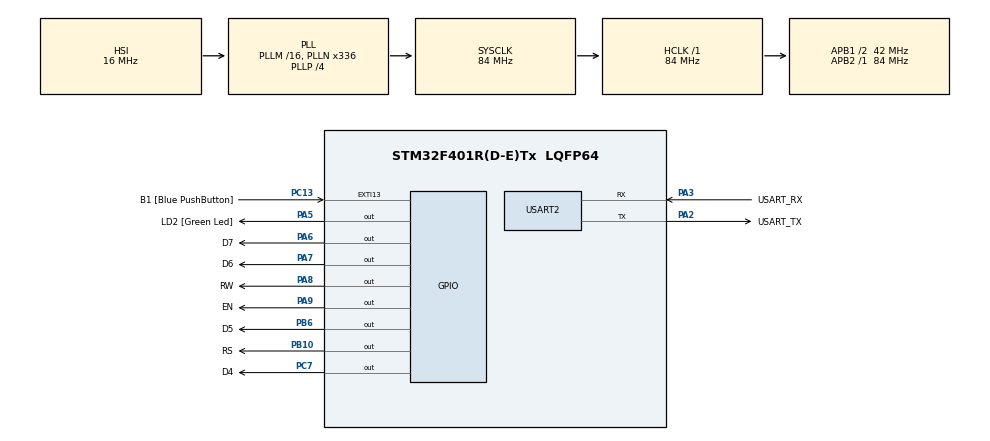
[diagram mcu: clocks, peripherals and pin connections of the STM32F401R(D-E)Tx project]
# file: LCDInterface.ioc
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Mcu.Family=STM32F4
Mcu.Name=STM32F401R(D-E)Tx
Mcu.Package=LQFP64
NVIC.EXTI15_10_IRQn=true\:0\:0\:false\:false\:true\:true\:true\:true
NVIC.PriorityGroup=NVIC_PRIORITYGROUP_0
NVIC.TIM1_UP_TIM10_IRQn=true\:0\:0\:false\:false\:true\:true\:true\:true
PA13.GPIO_Label=TMS
PA13.Mode=Serial_Wire
PA13.Signal=SYS_JTMS-SWDIO
PA14.GPIO_Label=TCK
PA14.Mode=Serial_Wire
PA14.Signal=SYS_JTCK-SWCLK
PA2.GPIO_Label=USART_TX
PA2.GPIO_Mode=GPIO_MODE_AF_PP
PA2.GPIO_PuPd=GPIO_NOPULL
PA2.GPIO_Speed=GPIO_SPEED_FREQ_LOW
PA2.Mode=Asynchronous
PA2.Signal=USART2_TX
PA3.GPIO_Label=USART_RX
PA3.GPIO_Mode=GPIO_MODE_AF_PP
PA3.GPIO_PuPd=GPIO_NOPULL
PA3.GPIO_Speed=GPIO_SPEED_FREQ_LOW
PA3.Mode=Asynchronous
PA3.Signal=USART2_RX
PA5.GPIO_Label=LD2 [Green Led]
PA5.GPIO_Mode=GPIO_MODE_OUTPUT_PP
PA5.GPIO_PuPd=GPIO_NOPULL
PA5.GPIO_Speed=GPIO_SPEED_FREQ_LOW
PA5.Signal=GPIO_Output
PA6.GPIO_Label=D7
PA6.Signal=GPIO_Output
PA7.GPIO_Label=D6
PA7.Signal=GPIO_Output
PA8.GPIO_Label=RW
PA8.Signal=GPIO_Output
PA9.GPIO_Label=EN
PA9.Signal=GPIO_Output
PB10.GPIO_Label=RS
PB10.Signal=GPIO_Output
PB3.GPIO_Label=SWO
PB3.Signal=SYS_JTDO-SWO
PB6.GPIO_Label=D5
PB6.Signal=GPIO_Output
PC13-ANTI_TAMP.GPIO_Label=B1 [Blue PushButton]
PC13-ANTI_TAMP.GPIO_ModeDefaultEXTI=GPIO_MODE_IT_RISING
PC13-ANTI_TAMP.GPIO_PuPd=GPIO_PULLDOWN
PC13-ANTI_TAMP.Signal=GPXTI13
PC14-OSC32_IN.Mode=LSE-External-Oscillator
PC14-OSC32_IN.Signal=RCC_OSC32_IN
PC15-OSC32_OUT.Mode=LSE-External-Oscillator
PC15-OSC32_OUT.Signal=RCC_OSC32_OUT
PC7.GPIO_Label=D4
PC7.Signal=GPIO_Output
PH0\ -\ OSC_IN.Mode=HSE-External-Clock-Source
PH0\ -\ OSC_IN.Signal=RCC_OSC_IN
PH1\ -\ OSC_OUT.Mode=HSE-External-Clock-Source
PH1\ -\ OSC_OUT.Signal=RCC_OSC_OUT
ProjectManager.HeapSize=0x200
ProjectManager.StackSize=0x400
ProjectManager.TargetToolchain=STM32CubeIDE
RCC.48MHZClocksFreq_Value=48000000
RCC.AHBFreq_Value=84000000
RCC.APB1CLKDivider=RCC_HCLK_DIV2
RCC.APB1Freq_Value=42000000
RCC.APB1TimFreq_Value=84000000
RCC.APB2Freq_Value=84000000
RCC.APB2TimFreq_Value=84000000
RCC.CortexFreq_Value=84000000
RCC.HCLKFreq_Value=84000000
RCC.HSE_VALUE=8000000
RCC.HSI_VALUE=16000000
RCC.PLLN=336
RCC.PLLP=RCC_PLLP_DIV4
RCC.PLLQ=7
RCC.SYSCLKFreq_VALUE=84000000
RCC.SYSCLKSource=RCC_SYSCLKSOURCE_PLLCLK
RCC.VCOOutputFreq_Value=336000000
TIM10.AutoReloadPreload=TIM_AUTORELOAD_PRELOAD_ENABLE
TIM10.Period=10000-1
TIM10.Prescaler=8000-1
USART2.VirtualMode=VM_ASYNC
VP_TIM10_VS_ClockSourceINT.Mode=Enable_Timer
board=NUCLEO-F401RE

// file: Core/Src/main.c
/* USER CODE BEGIN Header */
/**
  ******************************************************************************
  * @file           : main.c
  * @brief          : Main program body
  ******************************************************************************
  * @attention
  *
  * Copyright (c) 2024 STMicroelectronics.
  * All rights reserved.
  *
  * This software is licensed under terms that can be found in the LICENSE file
  * in the root directory of this software component.
  * If no LICENSE file comes with this software, it is provided AS-IS.
  *
  ******************************************************************************
  */
/* USER CODE END Header */
#include "main.h"
#include "stdio.h"
#include "lcd.h"

/* USER CODE BEGIN PTD */

unsigned char flag=1;
int seconds=0,minutes=0,hours=0;
/* USER CODE END PTD */

TIM_HandleTypeDef htim10;

UART_HandleTypeDef huart2;

void SystemClock_Config(void);
static void MX_GPIO_Init(void);
static void MX_USART2_UART_Init(void);
static void MX_TIM10_Init(void);

/* USER CODE BEGIN 0 */
void HAL_GPIO_EXTI_Callback(uint16_t GPIO_Pin){
	minutes=seconds=hours=0;
	HAL_TIM_Base_Start_IT(&htim10);
}
/* USER CODE END 0 */

int main(void)
{

  /* USER CODE BEGIN 1 */
	char buffer[9];
  /* USER CODE END 1 */

  /* MCU Configuration--------------------------------------------------------*/

  /* Reset of all peripherals, Initializes the Flash interface and the Systick. */
  HAL_Init();

  /* Configure the system clock */
  SystemClock_Config();

  /* Initialize all configured peripherals */
  MX_GPIO_Init();
  MX_USART2_UART_Init();
  MX_TIM10_Init();
  /* USER CODE BEGIN 2 */
//	HAL_GPIO_WritePin(LD2_GPIO_Port, LD2_Pin, SET);
	LCD_Init();
	LCD_SetCursor(0, 0);
//	LCD_SetCursor(1, 0);
//	LCD_WriteString("Mistake");
	HAL_Delay(10);
	sprintf(buffer, "%.2d:%.2d:%.2d", hours, minutes, seconds);
	LCD_WriteString(buffer);

  //start timer10

  /* USER CODE END 2 */

  /* Infinite loop */
  /* USER CODE BEGIN WHILE */
  while (1)
  {
	  sprintf(buffer, "%.2d:%.2d:%.2d", hours, minutes, seconds);
	  LCD_SetCursor(0, 0);
	  LCD_WriteString(buffer);

  }

}

void SystemClock_Config(void)
{
  RCC_OscInitTypeDef RCC_OscInitStruct = {0};
  RCC_ClkInitTypeDef RCC_ClkInitStruct = {0};

  /** Configure the main internal regulator output voltage
  */
  __HAL_RCC_PWR_CLK_ENABLE();
  __HAL_PWR_VOLTAGESCALING_CONFIG(PWR_REGULATOR_VOLTAGE_SCALE2);

  /** Initializes the RCC Oscillators according to the specified parameters
  * in the RCC_OscInitTypeDef structure.
  */
  RCC_OscInitStruct.OscillatorType = RCC_OSCILLATORTYPE_HSI;
  RCC_OscInitStruct.HSIState = RCC_HSI_ON;
  RCC_OscInitStruct.HSICalibrationValue = RCC_HSICALIBRATION_DEFAULT;
  RCC_OscInitStruct.PLL.PLLState = RCC_PLL_ON;
  RCC_OscInitStruct.PLL.PLLSource = RCC_PLLSOURCE_HSI;
  RCC_OscInitStruct.PLL.PLLM = 16;
  RCC_OscInitStruct.PLL.PLLN = 336;
  RCC_OscInitStruct.PLL.PLLP = RCC_PLLP_DIV4;
  RCC_OscInitStruct.PLL.PLLQ = 7;
  if (HAL_RCC_OscConfig(&RCC_OscInitStruct) != HAL_OK)
  {
    Error_Handler();
  }

  /** Initializes the CPU, AHB and APB buses clocks
  */
  RCC_ClkInitStruct.ClockType = RCC_CLOCKTYPE_HCLK|RCC_CLOCKTYPE_SYSCLK
                              |RCC_CLOCKTYPE_PCLK1|RCC_CLOCKTYPE_PCLK2;
  RCC_ClkInitStruct.SYSCLKSource = RCC_SYSCLKSOURCE_PLLCLK;
  RCC_ClkInitStruct.AHBCLKDivider = RCC_SYSCLK_DIV1;
  RCC_ClkInitStruct.APB1CLKDivider = RCC_HCLK_DIV2;
  RCC_ClkInitStruct.APB2CLKDivider = RCC_HCLK_DIV1;

  if (HAL_RCC_ClockConfig(&RCC_ClkInitStruct, FLASH_LATENCY_2) != HAL_OK)
  {
    Error_Handler();
  }
}

static void MX_TIM10_Init(void)
{

  htim10.Instance = TIM10;
  htim10.Init.Prescaler = 8000-1;
  htim10.Init.CounterMode = TIM_COUNTERMODE_UP;
  htim10.Init.Period = 10000-1;
  htim10.Init.ClockDivision = TIM_CLOCKDIVISION_DIV1;
  htim10.Init.AutoReloadPreload = TIM_AUTORELOAD_PRELOAD_ENABLE;
  if (HAL_TIM_Base_Init(&htim10) != HAL_OK)
  {
    Error_Handler();
  }

}

static void MX_USART2_UART_Init(void)
{

  huart2.Instance = USART2;
  huart2.Init.BaudRate = 115200;
  huart2.Init.WordLength = UART_WORDLENGTH_8B;
  huart2.Init.StopBits = UART_STOPBITS_1;
  huart2.Init.Parity = UART_PARITY_NONE;
  huart2.Init.Mode = UART_MODE_TX_RX;
  huart2.Init.HwFlowCtl = UART_HWCONTROL_NONE;
  huart2.Init.OverSampling = UART_OVERSAMPLING_16;
  if (HAL_UART_Init(&huart2) != HAL_OK)
  {
    Error_Handler();
  }

}

static void MX_GPIO_Init(void)
{
  GPIO_InitTypeDef GPIO_InitStruct = {0};

  /* GPIO Ports Clock Enable */
  __HAL_RCC_GPIOC_CLK_ENABLE();
  __HAL_RCC_GPIOH_CLK_ENABLE();
  __HAL_RCC_GPIOA_CLK_ENABLE();
  __HAL_RCC_GPIOB_CLK_ENABLE();

  /*Configure GPIO pin Output Level */
  HAL_GPIO_WritePin(GPIOA, LD2_Pin|D7_Pin|D6_Pin|RW_Pin
                          |EN_Pin, GPIO_PIN_RESET);

  /*Configure GPIO pin Output Level */
  HAL_GPIO_WritePin(GPIOB, RS_Pin|D5_Pin, GPIO_PIN_RESET);

  /*Configure GPIO pin Output Level */
  HAL_GPIO_WritePin(D4_GPIO_Port, D4_Pin, GPIO_PIN_RESET);

  /*Configure GPIO pin : B1_Pin */
  GPIO_InitStruct.Pin = B1_Pin;
  GPIO_InitStruct.Mode = GPIO_MODE_IT_RISING;
  GPIO_InitStruct.Pull = GPIO_PULLDOWN;
  HAL_GPIO_Init(B1_GPIO_Port, &GPIO_InitStruct);

  /*Configure GPIO pins : LD2_Pin D7_Pin D6_Pin RW_Pin
                           EN_Pin */
  GPIO_InitStruct.Pin = LD2_Pin|D7_Pin|D6_Pin|RW_Pin
                          |EN_Pin;
  GPIO_InitStruct.Mode = GPIO_MODE_OUTPUT_PP;
  GPIO_InitStruct.Pull = GPIO_NOPULL;
  GPIO_InitStruct.Speed = GPIO_SPEED_FREQ_LOW;
  HAL_GPIO_Init(GPIOA, &GPIO_InitStruct);

  /*Configure GPIO pins : RS_Pin D5_Pin */
  GPIO_InitStruct.Pin = RS_Pin|D5_Pin;
  GPIO_InitStruct.Mode = GPIO_MODE_OUTPUT_PP;
  GPIO_InitStruct.Pull = GPIO_NOPULL;
  GPIO_InitStruct.Speed = GPIO_SPEED_FREQ_LOW;
  HAL_GPIO_Init(GPIOB, &GPIO_InitStruct);

  /*Configure GPIO pin : D4_Pin */
  GPIO_InitStruct.Pin = D4_Pin;
  GPIO_InitStruct.Mode = GPIO_MODE_OUTPUT_PP;
  GPIO_InitStruct.Pull = GPIO_NOPULL;
  GPIO_InitStruct.Speed = GPIO_SPEED_FREQ_LOW;
  HAL_GPIO_Init(D4_GPIO_Port, &GPIO_InitStruct);

  /* EXTI interrupt init*/
  HAL_NVIC_SetPriority(EXTI15_10_IRQn, 0, 0);
  HAL_NVIC_EnableIRQ(EXTI15_10_IRQn);

}

/* USER CODE BEGIN 4 */
void HAL_TIM_PeriodElapsedCallback(TIM_HandleTypeDef *htim){
	if(htim==&htim10){
		HAL_GPIO_TogglePin(LD2_GPIO_Port, LD2_Pin);
		if(seconds<59){
			seconds++;
		}
		else if(seconds==59){
			minutes++;
			seconds=0;
		}
		else if(minutes==59){
			hours++;
			minutes=0;
		}
	}
}
/* USER CODE END 4 */

void Error_Handler(void)
{
  __disable_irq();
  while (1)
  {
  }
}
